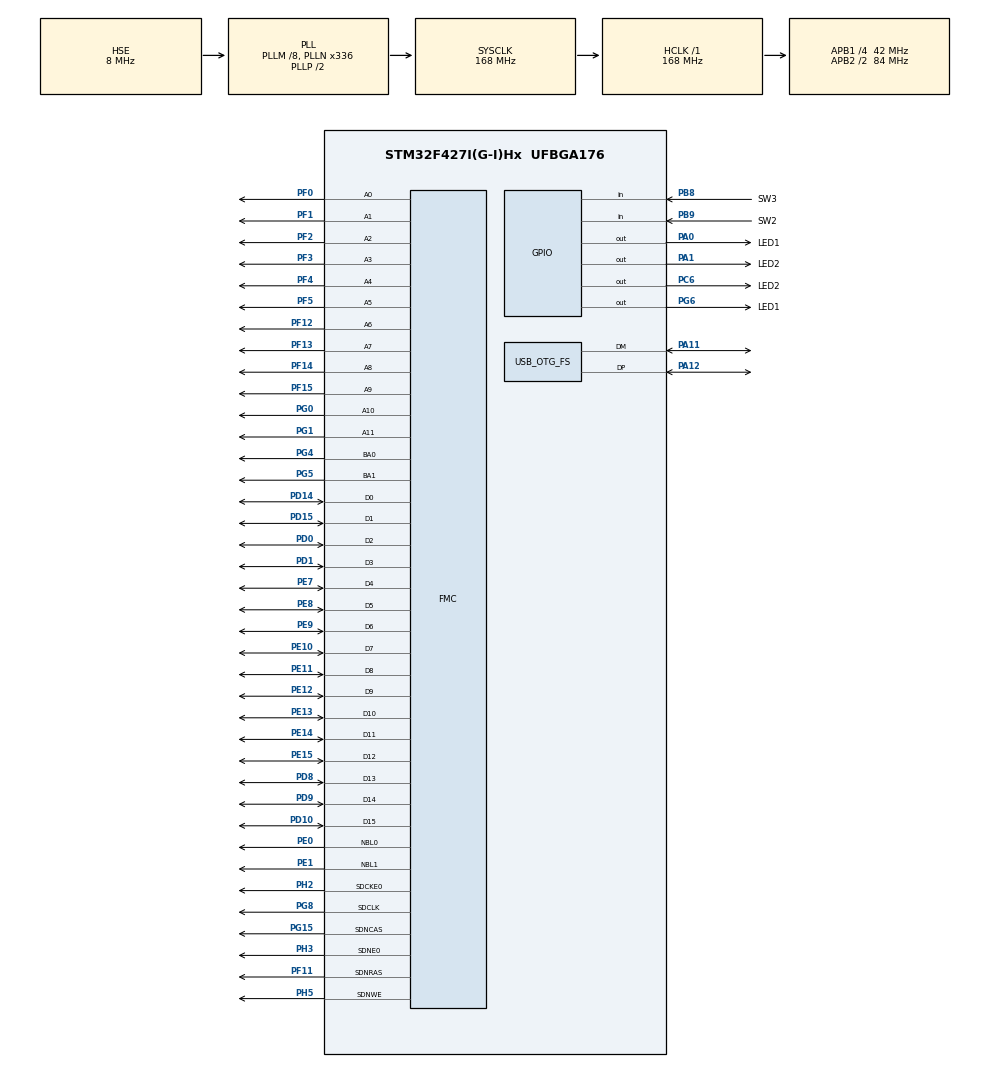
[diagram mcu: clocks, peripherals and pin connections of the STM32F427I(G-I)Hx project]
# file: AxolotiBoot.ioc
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FMC.CASLatency1=FMC_SDRAM_CAS_LATENCY_2
FMC.ExitSelfRefreshDelay1=6
FMC.LoadToActiveDelay1=2
FMC.RCDDelay1=2
FMC.RPDelay1=2
FMC.ReadBurst1=FMC_SDRAM_RBURST_ENABLE
FMC.ReadPipeDelay1=FMC_SDRAM_RPIPE_DELAY_1
FMC.RowCycleDelay1=6
FMC.RowCycleDelay2=6
FMC.SDClockPeriod1=FMC_SDRAM_CLOCK_PERIOD_2
FMC.SelfRefreshTime1=4
FMC.WriteRecoveryTime1=4
IWDG.Prescaler=IWDG_PRESCALER_128
IWDG.Reload=8*(30000/128)
Mcu.Family=STM32F4
Mcu.Name=STM32F427I(G-I)Hx
Mcu.Package=UFBGA176
NVIC.OTG_FS_IRQn=true\:0\:0\:false\:false\:true\:false\:true
NVIC.PriorityGroup=NVIC_PRIORITYGROUP_4
PA0/WKUP.GPIO_Label=LED1
PA0/WKUP.Signal=GPIO_Output
PA1.GPIO_Label=LED2
PA1.Signal=GPIO_Output
PA11.Mode=Device_Only
PA11.Signal=USB_OTG_FS_DM
PA12.Mode=Device_Only
PA12.Signal=USB_OTG_FS_DP
PA13.Mode=Serial_Wire
PA13.Signal=SYS_JTMS-SWDIO
PA14.Mode=Serial_Wire
PA14.Signal=SYS_JTCK-SWCLK
PB5.Signal=FMC_SDCKE1
PB8.GPIO_Label=SW3
PB8.GPIO_PuPd=GPIO_PULLDOWN
PB8.Signal=GPIO_Input
PB9.GPIO_Label=SW2
PB9.GPIO_PuPd=GPIO_PULLDOWN
PB9.Signal=GPIO_Input
PC6.GPIO_Label=LED2
PC6.Signal=GPIO_Output
PD0.GPIO_Speed_High_Default=GPIO_SPEED_FREQ_VERY_HIGH
PD0.Signal=FMC_D2_DA2
PD1.GPIO_Speed_High_Default=GPIO_SPEED_FREQ_VERY_HIGH
PD1.Signal=FMC_D3_DA3
PD10.Signal=FMC_D15_DA15
PD14.Signal=FMC_D0_DA0
PD15.Signal=FMC_D1_DA1
PD8.GPIO_Speed_High_Default=GPIO_SPEED_FREQ_VERY_HIGH
PD8.Signal=FMC_D13_DA13
PD9.Signal=FMC_D14_DA14
PE0.Signal=FMC_NBL0
PE1.Signal=FMC_NBL1
PE10.Signal=FMC_D7_DA7
PE11.Signal=FMC_D8_DA8
PE12.Signal=FMC_D9_DA9
PE13.Signal=FMC_D10_DA10
PE14.Signal=FMC_D11_DA11
PE15.Signal=FMC_D12_DA12
PE7.Signal=FMC_D4_DA4
PE8.Signal=FMC_D5_DA5
PE9.Signal=FMC_D6_DA6
PF0.Signal=FMC_A0
PF1.Signal=FMC_A1
PF11.Signal=FMC_SDNRAS
PF12.Signal=FMC_A6
PF13.Signal=FMC_A7
PF14.Signal=FMC_A8
PF15.Signal=FMC_A9
PF2.Signal=FMC_A2
PF3.Signal=FMC_A3
PF4.Signal=FMC_A4
PF5.Signal=FMC_A5
PG0.Signal=FMC_A10
PG1.Signal=FMC_A11
PG15.Signal=FMC_SDNCAS
PG2.Signal=FMC_A12
PG4.Signal=FMC_A14_BA0
PG5.Signal=FMC_A15_BA1
PG6.GPIO_Label=LED1
PG6.Signal=GPIO_Output
PG8.Signal=FMC_SDCLK
PH0/OSC_IN.Mode=HSE-External-Oscillator
PH0/OSC_IN.Signal=RCC_OSC_IN
PH1/OSC_OUT.Mode=HSE-External-Oscillator
PH1/OSC_OUT.Signal=RCC_OSC_OUT
PH2.Mode=SdramChipSelect1_1
PH2.Signal=FMC_SDCKE0
PH3.Mode=SdramChipSelect1_1
PH3.Signal=FMC_SDNE0
PH5.Signal=FMC_SDNWE
ProjectManager.HeapSize=0x200
ProjectManager.StackSize=0x400
ProjectManager.TargetToolchain=Makefile
RCC.48MHZClocksFreq_Value=48000000
RCC.AHBFreq_Value=168000000
RCC.APB1CLKDivider=RCC_HCLK_DIV4
RCC.APB1Freq_Value=42000000
RCC.APB1TimFreq_Value=84000000
RCC.APB2CLKDivider=RCC_HCLK_DIV2
RCC.APB2Freq_Value=84000000
RCC.APB2TimFreq_Value=168000000
RCC.CortexFreq_Value=168000000
RCC.HCLKFreq_Value=168000000
RCC.HSE_VALUE=8000000
RCC.HSI_VALUE=16000000
RCC.LSE_VALUE=32768
RCC.PLLM=8
RCC.PLLN=336
RCC.PLLQ=7
RCC.PLLSAIN=100
RCC.SYSCLKFreq_VALUE=168000000
RCC.SYSCLKSource=RCC_SYSCLKSOURCE_PLLCLK
RCC.USBFreq_Value=48000000
RCC.VCOOutputFreq_Value=336000000
SH.FMC_A0.0=FMC_A0,12b-sda1
SH.FMC_A1.0=FMC_A1,12b-sda1
SH.FMC_A10.0=FMC_A10,12b-sda1
SH.FMC_A11.0=FMC_A11,12b-sda1
SH.FMC_A12.0=FMC_A12
SH.FMC_A14_BA0.0=FMC_BA0,FourSdramBanks1
SH.FMC_A14_BA0.1=FMC_A14
SH.FMC_A15_BA1.0=FMC_BA1,FourSdramBanks1
SH.FMC_A2.0=FMC_A2,12b-sda1
SH.FMC_A3.0=FMC_A3,12b-sda1
SH.FMC_A4.0=FMC_A4,12b-sda1
SH.FMC_A5.0=FMC_A5,12b-sda1
SH.FMC_A6.0=FMC_A6,12b-sda1
SH.FMC_A7.0=FMC_A7,12b-sda1
SH.FMC_A8.0=FMC_A8,12b-sda1
SH.FMC_A9.0=FMC_A9,12b-sda1
SH.FMC_D0_DA0.0=FMC_D0,sd-16b-d1
SH.FMC_D10_DA10.0=FMC_D10,sd-16b-d1
SH.FMC_D11_DA11.0=FMC_D11,sd-16b-d1
SH.FMC_D12_DA12.0=FMC_D12,sd-16b-d1
SH.FMC_D13_DA13.0=FMC_D13,sd-16b-d1
SH.FMC_D14_DA14.0=FMC_D14,sd-16b-d1
SH.FMC_D15_DA15.0=FMC_D15,sd-16b-d1
SH.FMC_D1_DA1.0=FMC_D1,sd-16b-d1
SH.FMC_D2_DA2.0=FMC_D2,sd-16b-d1
SH.FMC_D3_DA3.0=FMC_D3,sd-16b-d1
SH.FMC_D4_DA4.0=FMC_D4,sd-16b-d1
SH.FMC_D5_DA5.0=FMC_D5,sd-16b-d1
SH.FMC_D6_DA6.0=FMC_D6,sd-16b-d1
SH.FMC_D7_DA7.0=FMC_D7,sd-16b-d1
SH.FMC_D8_DA8.0=FMC_D8,sd-16b-d1
SH.FMC_D9_DA9.0=FMC_D9,sd-16b-d1
SH.FMC_NBL0.0=FMC_NBL0,Sd2ByteEnable1
SH.FMC_NBL1.0=FMC_NBL1,Sd2ByteEnable1
SH.FMC_SDCLK.0=FMC_SDCLK,12b-sda1
SH.FMC_SDNCAS.0=FMC_SDNCAS,12b-sda1
SH.FMC_SDNRAS.0=FMC_SDNRAS,12b-sda1
SH.FMC_SDNWE.0=FMC_SDNWE,12b-sda1
USB_DEVICE.CLASS_NAME_FS=AUDIO
USB_DEVICE.MANUFACTURER_STRING-AUDIO_FS=Rebel Technology
USB_DEVICE.PID_AUDIO_FS=0xDADA
USB_DEVICE.PRODUCT_STRING_AUDIO_FS=OWL-BOOT
USB_DEVICE.VID-AUDIO_FS=0x1209
USB_DEVICE.VirtualMode-AUDIO_FS=Audio
USB_DEVICE.VirtualModeFS=Audio_FS
USB_OTG_FS.VirtualMode=Device_Only
VP_IWDG_VS_IWDG.Mode=IWDG_Activate
VP_USB_DEVICE_VS_USB_DEVICE_AUDIO_FS.Mode=AUDIO_FS
board=AxolotiBoot

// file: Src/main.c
/* USER CODE BEGIN Header */
/**
  ******************************************************************************
  * @file           : main.c
  * @brief          : Main program body
  ******************************************************************************
  * @attention
  *
  * <h2><center>&copy; Copyright (c) 2020 STMicroelectronics.
  * All rights reserved.</center></h2>
  *
  * This software component is licensed by ST under Ultimate Liberty license
  * SLA0044, the "License"; You may not use this file except in compliance with
  * the License. You may obtain a copy of the License at:
  *                             www.st.com/SLA0044
  *
  ******************************************************************************
  */
/* USER CODE END Header */
#include "main.h"
#include "usb_device.h"

/* USER CODE BEGIN Includes */
#include "device.h"
#include "errorhandlers.h"
/* USER CODE END Includes */

IWDG_HandleTypeDef hiwdg;

SDRAM_HandleTypeDef hsdram1;

/* USER CODE BEGIN PV */
/* Private variables ---------------------------------------------------------*/

/* USER CODE END PV */

void SystemClock_Config(void);
static void MX_GPIO_Init(void);
static void MX_FMC_Init(void);
static void MX_IWDG_Init(void);
/* USER CODE BEGIN PFP */
/* Private function prototypes -----------------------------------------------*/

void setup();
void SDRAM_Initialization_Sequence(SDRAM_HandleTypeDef *hsdram);
void loop(void);
void setMessage(const char* msg);

typedef  void (*pFunction)(void);

static int testMagic(){
  return *OWLBOOT_MAGIC_ADDRESS == OWLBOOT_MAGIC_NUMBER;
}

static int testLoop(){
  // Prevent reset cycles.
  // Check if we've been reset without zeroing the magic address,
  // which might indicate a corrupt firmware.
  return *OWLBOOT_MAGIC_ADDRESS == OWLBOOT_LOOP_NUMBER;
}

int testButton(){
#ifdef USE_BOOT1_PIN
  return !(BOOT1_GPIO_Port->IDR & BOOT1_Pin);
#else
  return 0;
#endif
}

static int testNoProgram(){
  return ((*(__IO uint32_t*)(APPLICATION_ADDRESS + 4)) & 0xFFF00000 ) != 0x08000000;
  /* Check Vector Table: Test if valid Reset_Handler pointer is programmed after APPLICATION_ADDRESS */
}

static int testWatchdogReset(){
  return __HAL_RCC_GET_FLAG(RCC_FLAG_IWDGRST) != RESET;
}

/* USER CODE END PFP */

int main(void)
{

  /* MCU Configuration--------------------------------------------------------*/

  /* Reset of all peripherals, Initializes the Flash interface and the Systick. */
  HAL_Init();

  /* Configure the system clock */
  SystemClock_Config();

  /* USER CODE BEGIN SysInit */

  MX_GPIO_Init();

  if(testMagic()){
    setMessage("Bootloader starting");
  }else if(testButton()){
    setMessage("Bootloader requested");
  }else if(testLoop()){
    error(RUNTIME_ERROR, "Unexpected firmware reset");
  }else if(testWatchdogReset()){
    error(RUNTIME_ERROR, "Watchdog reset");
  }else if(testNoProgram()){
    error(RUNTIME_ERROR, "No valid firmware");
  }else{
    // jump to application code

    /* Disable all interrupts */
    RCC->CIR = 0x00000000;

    /* Put marker in to prevent reset cycles */
    *OWLBOOT_MAGIC_ADDRESS = OWLBOOT_LOOP_NUMBER;

    /* Start watchdog */
    MX_IWDG_Init();

    /* Jump to user application */
    uint32_t JumpAddress = *(__IO uint32_t*) (APPLICATION_ADDRESS + 4);
    pFunction jumpToApplication = (pFunction) JumpAddress;
    /* Initialize user application's Stack Pointer */
    __set_MSP(*(__IO uint32_t*) APPLICATION_ADDRESS);
    jumpToApplication();
    for(;;);
  }
  /* Clear reset flags */
  __HAL_RCC_CLEAR_RESET_FLAGS();

  /* Clear magic */
  *OWLBOOT_MAGIC_ADDRESS = 0;

  MX_FMC_Init();
  SDRAM_Initialization_Sequence(&hsdram1);
#if 0
  /* USER CODE END SysInit */

  /* Initialize all configured peripherals */
  MX_USB_DEVICE_Init();
  /* USER CODE BEGIN 2 */
#endif
  MX_USB_DEVICE_Init();

  // Initialise
  setup();

  /* USER CODE END 2 */

  /* Infinite loop */
  /* USER CODE BEGIN WHILE */
  while (1)
  {
    loop();
    /* USER CODE END WHILE */

  }
}

void SystemClock_Config(void)
{
  RCC_OscInitTypeDef RCC_OscInitStruct = {0};
  RCC_ClkInitTypeDef RCC_ClkInitStruct = {0};

  /** Configure the main internal regulator output voltage
  */
  __HAL_RCC_PWR_CLK_ENABLE();
  __HAL_PWR_VOLTAGESCALING_CONFIG(PWR_REGULATOR_VOLTAGE_SCALE1);
  /** Initializes the RCC Oscillators according to the specified parameters
  * in the RCC_OscInitTypeDef structure.
  */
  RCC_OscInitStruct.OscillatorType = RCC_OSCILLATORTYPE_LSI|RCC_OSCILLATORTYPE_HSE;
  RCC_OscInitStruct.HSEState = RCC_HSE_ON;
  RCC_OscInitStruct.LSIState = RCC_LSI_ON;
  RCC_OscInitStruct.PLL.PLLState = RCC_PLL_ON;
  RCC_OscInitStruct.PLL.PLLSource = RCC_PLLSOURCE_HSE;
  RCC_OscInitStruct.PLL.PLLM = 8;
  RCC_OscInitStruct.PLL.PLLN = 336;
  RCC_OscInitStruct.PLL.PLLP = RCC_PLLP_DIV2;
  RCC_OscInitStruct.PLL.PLLQ = 7;
  if (HAL_RCC_OscConfig(&RCC_OscInitStruct) != HAL_OK)
  {
    Error_Handler();
  }
  /** Initializes the CPU, AHB and APB buses clocks
  */
  RCC_ClkInitStruct.ClockType = RCC_CLOCKTYPE_HCLK|RCC_CLOCKTYPE_SYSCLK
                              |RCC_CLOCKTYPE_PCLK1|RCC_CLOCKTYPE_PCLK2;
  RCC_ClkInitStruct.SYSCLKSource = RCC_SYSCLKSOURCE_PLLCLK;
  RCC_ClkInitStruct.AHBCLKDivider = RCC_SYSCLK_DIV1;
  RCC_ClkInitStruct.APB1CLKDivider = RCC_HCLK_DIV4;
  RCC_ClkInitStruct.APB2CLKDivider = RCC_HCLK_DIV2;

  if (HAL_RCC_ClockConfig(&RCC_ClkInitStruct, FLASH_LATENCY_5) != HAL_OK)
  {
    Error_Handler();
  }
}

static void MX_IWDG_Init(void)
{

  /* USER CODE BEGIN IWDG_Init 1 */
#ifdef USE_IWDG
  /* USER CODE END IWDG_Init 1 */
  hiwdg.Instance = IWDG;
  hiwdg.Init.Prescaler = IWDG_PRESCALER_128;
  hiwdg.Init.Reload = 8*(30000/128);
  if (HAL_IWDG_Init(&hiwdg) != HAL_OK)
  {
    Error_Handler();
  }
  /* USER CODE BEGIN IWDG_Init 2 */
#endif
  /* USER CODE END IWDG_Init 2 */

}

/* FMC initialization function */
static void MX_FMC_Init(void)
{

  /* USER CODE BEGIN FMC_Init 0 */
#if !defined OWL_PRISM && !defined OWL_BIOSIGNALS && !defined OWL_NOCTUA
  /* USER CODE END FMC_Init 0 */

  FMC_SDRAM_TimingTypeDef SdramTiming = {0};

  /** Perform the SDRAM1 memory initialization sequence
  */
  hsdram1.Instance = FMC_SDRAM_DEVICE;
  /* hsdram1.Init */
  hsdram1.Init.SDBank = FMC_SDRAM_BANK1;
  hsdram1.Init.ColumnBitsNumber = FMC_SDRAM_COLUMN_BITS_NUM_8;
  hsdram1.Init.RowBitsNumber = FMC_SDRAM_ROW_BITS_NUM_12;
  hsdram1.Init.MemoryDataWidth = FMC_SDRAM_MEM_BUS_WIDTH_16;
  hsdram1.Init.InternalBankNumber = FMC_SDRAM_INTERN_BANKS_NUM_4;
  hsdram1.Init.CASLatency = FMC_SDRAM_CAS_LATENCY_2;
  hsdram1.Init.WriteProtection = FMC_SDRAM_WRITE_PROTECTION_DISABLE;
  hsdram1.Init.SDClockPeriod = FMC_SDRAM_CLOCK_PERIOD_2;
  hsdram1.Init.ReadBurst = FMC_SDRAM_RBURST_ENABLE;
  hsdram1.Init.ReadPipeDelay = FMC_SDRAM_RPIPE_DELAY_1;
  /* SdramTiming */
  SdramTiming.LoadToActiveDelay = 2;
  SdramTiming.ExitSelfRefreshDelay = 7;
  SdramTiming.SelfRefreshTime = 4;
  SdramTiming.RowCycleDelay = 7;
  SdramTiming.WriteRecoveryTime = 3;
  SdramTiming.RPDelay = 2;
  SdramTiming.RCDDelay = 2;

  if (HAL_SDRAM_Init(&hsdram1, &SdramTiming) != HAL_OK)
  {
    Error_Handler( );
  }

  /* USER CODE BEGIN FMC_Init 2 */
#endif
  /* USER CODE END FMC_Init 2 */
}

static void MX_GPIO_Init(void)
{
  GPIO_InitTypeDef GPIO_InitStruct = {0};

  /* GPIO Ports Clock Enable */
  __HAL_RCC_GPIOE_CLK_ENABLE();
  __HAL_RCC_GPIOB_CLK_ENABLE();
  __HAL_RCC_GPIOG_CLK_ENABLE();
  __HAL_RCC_GPIOD_CLK_ENABLE();
  __HAL_RCC_GPIOC_CLK_ENABLE();
  __HAL_RCC_GPIOA_CLK_ENABLE();
  __HAL_RCC_GPIOI_CLK_ENABLE();
  __HAL_RCC_GPIOH_CLK_ENABLE();
  __HAL_RCC_GPIOF_CLK_ENABLE();

  /*Configure GPIO pin Output Level */
  HAL_GPIO_WritePin(LED2_GPIO_Port, LED2_Pin, GPIO_PIN_RESET);

  /*Configure GPIO pin Output Level */
  HAL_GPIO_WritePin(LED1_GPIO_Port, LED1_Pin, GPIO_PIN_RESET);

  /*Configure GPIO pin Output Level */
  HAL_GPIO_WritePin(GPIOA, LED2A1_Pin|LED1A0_Pin, GPIO_PIN_RESET);

  /*Configure GPIO pins : PE3 PE2 PE4 PE5
                           PE6 */
  GPIO_InitStruct.Pin = GPIO_PIN_3|GPIO_PIN_2|GPIO_PIN_4|GPIO_PIN_5
                          |GPIO_PIN_6;
  GPIO_InitStruct.Mode = GPIO_MODE_ANALOG;
  GPIO_InitStruct.Pull = GPIO_NOPULL;
  HAL_GPIO_Init(GPIOE, &GPIO_InitStruct);

  /*Configure GPIO pins : SW3_Pin SW2_Pin */
  GPIO_InitStruct.Pin = SW3_Pin|SW2_Pin;
  GPIO_InitStruct.Mode = GPIO_MODE_INPUT;
  GPIO_InitStruct.Pull = GPIO_NOPULL;
  HAL_GPIO_Init(GPIOB, &GPIO_InitStruct);

  /*Configure GPIO pins : PG14 PG13 PG12 PG11
                           PG10 PG9 PG7 PG3 */
  GPIO_InitStruct.Pin = GPIO_PIN_14|GPIO_PIN_13|GPIO_PIN_12|GPIO_PIN_11
                          |GPIO_PIN_10|GPIO_PIN_9|GPIO_PIN_7|GPIO_PIN_3;
  GPIO_InitStruct.Mode = GPIO_MODE_ANALOG;
  GPIO_InitStruct.Pull = GPIO_NOPULL;
  HAL_GPIO_Init(GPIOG, &GPIO_InitStruct);

  /*Configure GPIO pins : PB4 PB3 PB7 PB6
                           PB2 PB12 PB13 PB1
                           PB0 PB10 PB11 PB14
                           PB15 */
  GPIO_InitStruct.Pin = GPIO_PIN_4|GPIO_PIN_3|GPIO_PIN_7|GPIO_PIN_6
                          |GPIO_PIN_2|GPIO_PIN_12|GPIO_PIN_13|GPIO_PIN_1
                          |GPIO_PIN_0|GPIO_PIN_10|GPIO_PIN_11|GPIO_PIN_14
                          |GPIO_PIN_15;
  GPIO_InitStruct.Mode = GPIO_MODE_ANALOG;
  GPIO_InitStruct.Pull = GPIO_NOPULL;
  HAL_GPIO_Init(GPIOB, &GPIO_InitStruct);

  /*Configure GPIO pins : PD7 PD6 PD5 PD4
                           PD3 PD2 PD13 PD12
                           PD11 */
  GPIO_InitStruct.Pin = GPIO_PIN_7|GPIO_PIN_6|GPIO_PIN_5|GPIO_PIN_4
                          |GPIO_PIN_3|GPIO_PIN_2|GPIO_PIN_13|GPIO_PIN_12
                          |GPIO_PIN_11;
  GPIO_InitStruct.Mode = GPIO_MODE_ANALOG;
  GPIO_InitStruct.Pull = GPIO_NOPULL;
  HAL_GPIO_Init(GPIOD, &GPIO_InitStruct);

  /*Configure GPIO pins : PC12 PC11 PC10 PC13
                           PC14 PC15 PC9 PC8
                           PC7 PC0 PC1 PC2
                           PC3 PC4 PC5 */
  GPIO_InitStruct.Pin = GPIO_PIN_12|GPIO_PIN_11|GPIO_PIN_10|GPIO_PIN_13
                          |GPIO_PIN_14|GPIO_PIN_15|GPIO_PIN_9|GPIO_PIN_8
                          |GPIO_PIN_7|GPIO_PIN_0|GPIO_PIN_1|GPIO_PIN_2
                          |GPIO_PIN_3|GPIO_PIN_4|GPIO_PIN_5;
  GPIO_InitStruct.Mode = GPIO_MODE_ANALOG;
  GPIO_InitStruct.Pull = GPIO_NOPULL;
  HAL_GPIO_Init(GPIOC, &GPIO_InitStruct);

  /*Configure GPIO pins : PA15 PA10 PA8 PA4
                           PA2 PA6 PA5 PA3
                           PA7 */
  GPIO_InitStruct.Pin = GPIO_PIN_15|GPIO_PIN_10|GPIO_PIN_8|GPIO_PIN_4
                          |GPIO_PIN_2|GPIO_PIN_6|GPIO_PIN_5|GPIO_PIN_3
                          |GPIO_PIN_7;
  GPIO_InitStruct.Mode = GPIO_MODE_ANALOG;
  GPIO_InitStruct.Pull = GPIO_NOPULL;
  HAL_GPIO_Init(GPIOA, &GPIO_InitStruct);

  /*Configure GPIO pins : PI7 PI6 PI5 PI3
                           PI2 PI8 PI9 PI4
                           PI1 PI10 PI11 PI0 */
  GPIO_InitStruct.Pin = GPIO_PIN_7|GPIO_PIN_6|GPIO_PIN_5|GPIO_PIN_3
                          |GPIO_PIN_2|GPIO_PIN_8|GPIO_PIN_9|GPIO_PIN_4
                          |GPIO_PIN_1|GPIO_PIN_10|GPIO_PIN_11|GPIO_PIN_0;
  GPIO_InitStruct.Mode = GPIO_MODE_ANALOG;
  GPIO_InitStruct.Pull = GPIO_NOPULL;
  HAL_GPIO_Init(GPIOI, &GPIO_InitStruct);

  /*Configure GPIO pins : PH15 PH13 PH14 PH4
                           PH12 PH11 PH10 PH6
                           PH8 PH9 PH7 */
  GPIO_InitStruct.Pin = GPIO_PIN_15|GPIO_PIN_13|GPIO_PIN_14|GPIO_PIN_4
                          |GPIO_PIN_12|GPIO_PIN_11|GPIO_PIN_10|GPIO_PIN_6
                          |GPIO_PIN_8|GPIO_PIN_9|GPIO_PIN_7;
  GPIO_InitStruct.Mode = GPIO_MODE_ANALOG;
  GPIO_InitStruct.Pull = GPIO_NOPULL;
  HAL_GPIO_Init(GPIOH, &GPIO_InitStruct);

  /*Configure GPIO pin : LED2_Pin */
  GPIO_InitStruct.Pin = LED2_Pin;
  GPIO_InitStruct.Mode = GPIO_MODE_OUTPUT_PP;
  GPIO_InitStruct.Pull = GPIO_NOPULL;
  GPIO_InitStruct.Speed = GPIO_SPEED_FREQ_LOW;
  HAL_GPIO_Init(LED2_GPIO_Port, &GPIO_InitStruct);

  /*Configure GPIO pin : LED1_Pin */
  GPIO_InitStruct.Pin = LED1_Pin;
  GPIO_InitStruct.Mode = GPIO_MODE_OUTPUT_PP;
  GPIO_InitStruct.Pull = GPIO_NOPULL;
  GPIO_InitStruct.Speed = GPIO_SPEED_FREQ_LOW;
  HAL_GPIO_Init(LED1_GPIO_Port, &GPIO_InitStruct);

  /*Configure GPIO pins : PF7 PF6 PF10 PF9
                           PF8 */
  GPIO_InitStruct.Pin = GPIO_PIN_7|GPIO_PIN_6|GPIO_PIN_10|GPIO_PIN_9
                          |GPIO_PIN_8;
  GPIO_InitStruct.Mode = GPIO_MODE_ANALOG;
  GPIO_InitStruct.Pull = GPIO_NOPULL;
  HAL_GPIO_Init(GPIOF, &GPIO_InitStruct);

  /*Configure GPIO pins : LED2A1_Pin LED1A0_Pin */
  GPIO_InitStruct.Pin = LED2A1_Pin|LED1A0_Pin;
  GPIO_InitStruct.Mode = GPIO_MODE_OUTPUT_PP;
  GPIO_InitStruct.Pull = GPIO_NOPULL;
  GPIO_InitStruct.Speed = GPIO_SPEED_FREQ_LOW;
  HAL_GPIO_Init(GPIOA, &GPIO_InitStruct);

}

void Error_Handler(void)
{
  /* USER CODE BEGIN Error_Handler_Debug */
#ifdef DEBUG
  __asm__("BKPT");
#else
  NVIC_SystemReset();
#endif
  /* USER CODE END Error_Handler_Debug */
}

#ifdef  USE_FULL_ASSERT
/**
  * @brief  Reports the name of the source file and the source line number
  *         where the assert_param error has occurred.
  * @param  file: pointer to the source file name
  * @param  line: assert_param error line source number
  * @retval None
  */
void assert_failed(uint8_t *file, uint32_t line)
{
  /* USER CODE BEGIN 6 */
#ifdef DEBUG
  __asm__("BKPT");
#else
  NVIC_SystemReset();
#endif
  /* USER CODE END 6 */
}
#endif /* USE_FULL_ASSERT */

/************************ (C) COPYRIGHT STMicroelectronics *****END OF FILE****/
